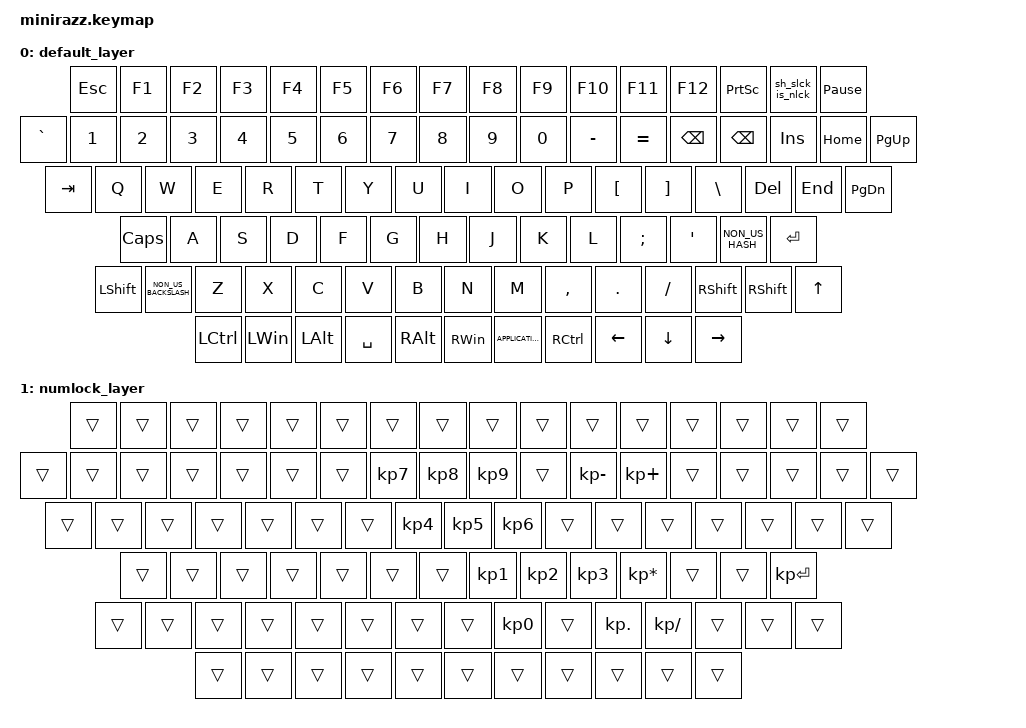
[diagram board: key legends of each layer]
#include <behaviors.dtsi>
#include <dt-bindings/zmk/keys.h>

/ {
	behaviors {
		sh_slck_is_nlck: sh_slck_is_nlck {
			label = "SH_SLCK_IS_NLCK";
			compatible = "zmk,behavior-mod-morph";
			#binding-cells = <0>;
			bindings = <&kp SCROLLLOCK>, <&kp KP_NUMLOCK>;
			mods = <(MOD_LSFT|MOD_RSFT)>;
		};
	};
	keymap {
		compatible = "zmk,keymap";

		default_layer {
			bindings = <
&kp ESC   &kp F1    &kp F2   &kp F3    &kp F4    &kp F5    &kp F6   &kp F7    &kp F8    &kp F9   &kp F10   &kp F11   &kp F12  &kp PRINTSCREEN   &sh_slck_is_nlck &kp PAUSE_BREAK
&kp GRAVE &kp N1 &kp N2 &kp N3 &kp N4 &kp N5 &kp N6 &kp N7 &kp N8 &kp N9 &kp N0 &kp MINUS &kp EQUAL &kp BSPC &kp BSPC    &kp INSERT &kp HOME &kp PAGE_UP
&kp TAB &kp Q     &kp W     &kp E     &kp R     &kp T     &kp Y     &kp U     &kp I     &kp O     &kp P &kp LEFT_BRACKET &kp RIGHT_BRACKET &kp BACKSLASH  &kp DELETE &kp END &kp PAGE_DOWN
&kp CAPSLOCK &kp A     &kp S     &kp D     &kp F     &kp G     &kp H     &kp J     &kp K     &kp L     &kp SEMI      &kp SINGLE_QUOTE &kp NON_US_HASH &kp RETURN
&kp LEFT_SHIFT &kp NON_US_BACKSLASH &kp Z     &kp X     &kp C     &kp V     &kp B     &kp N     &kp M     &kp COMMA &kp DOT   &kp SLASH   &kp RIGHT_SHIFT &kp RIGHT_SHIFT                  &kp UP
&kp LEFT_CONTROL &kp LEFT_WIN &kp LEFT_ALT                   &kp SPACE                        &kp RIGHT_ALT &kp RIGHT_WIN &kp K_APPLICATION &kp RIGHT_CONTROL                         &kp LEFT &kp DOWN &kp RIGHT
			>;
		};
		numlock_layer {
			bindings = <
&trans   &trans    &trans   &trans    &trans    &trans    &trans   &trans    &trans    &trans   &trans   &trans   &trans                       &trans &trans &trans
&trans &trans  &trans  &trans  &trans  &trans  &trans  &kp KP_N7 &kp KP_N8 &kp KP_N9 &trans &kp KP_MINUS &kp KP_PLUS &trans &trans             &trans &trans &trans
&trans &trans    &trans   &trans   &trans   &trans  &trans   &kp KP_N4  &kp KP_N5  &kp KP_N6     &trans &trans &trans &trans                   &trans &trans &trans
&trans &trans      &trans   &trans   &trans   &trans   &trans    &kp KP_N1  &kp KP_N2  &kp KP_N3   &kp KP_MULTIPLY &trans &trans &kp KP_ENTER
&trans &trans &trans   &trans   &trans   &trans   &trans    &trans  &kp KP_N0    &trans &kp KP_DOT   &kp KP_DIVIDE   &trans &trans                    &trans
&trans &trans &trans                                 &trans                             &trans &trans &trans &trans                            &trans &trans &trans
			>;
		};
	};
};
